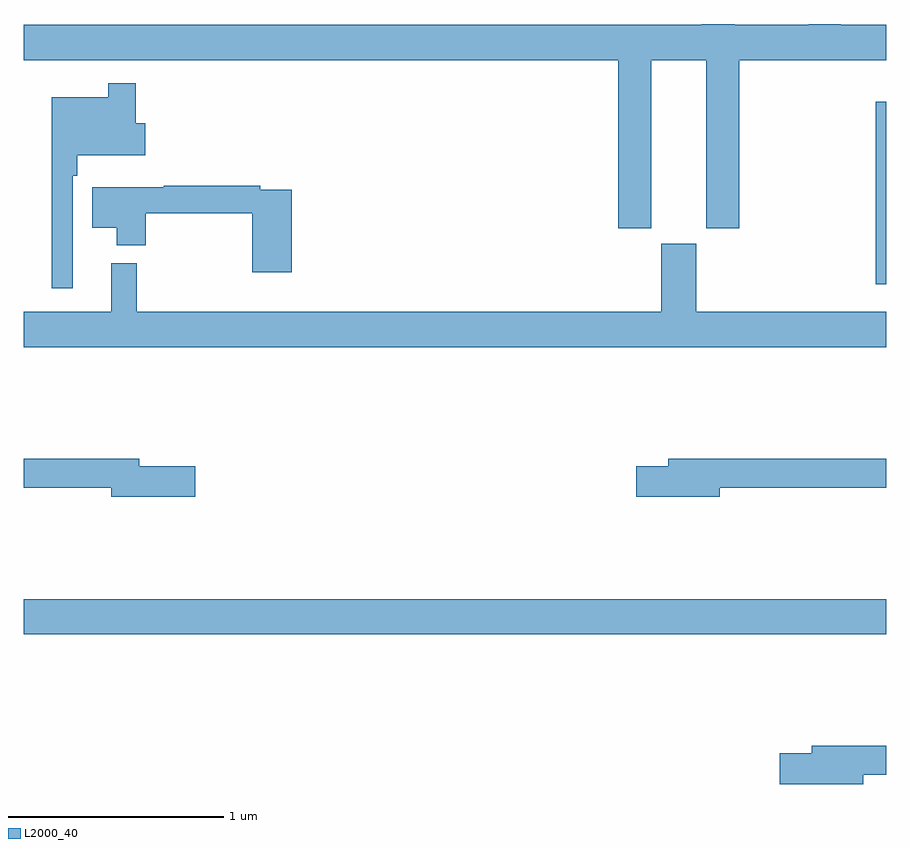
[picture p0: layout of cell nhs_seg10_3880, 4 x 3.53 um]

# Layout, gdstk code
import gdstk
lib = gdstk.Library(unit=1e-6, precision=1e-09)
def R(c, l, rs):  # rectangles x0, y0, x1, y1
    for r in rs: c.add(gdstk.rectangle(r[:2], r[2:], *l))
def P(c, l, *ps):  # polygons
    for p in ps: c.add(gdstk.Polygon(p, *l))
L2000_40 = (2000, 40)

nhs_seg10_3880 = lib.new_cell('nhs_seg10_3880')
R(nhs_seg10_3880, L2000_40, [(325,1281.668,329,1281.832), (328.951,1283.292,329,1284.139)])
P(nhs_seg10_3880, L2000_40, [(327.91,1284.332),(328.166,1284.332),(328.166,1283.553),(328.319,1283.553),(328.319,1284.332),(329,1284.332),(329,1284.496),(328.789,1284.496),(328.789,1284.5),(328.642,1284.5),(328.642,1284.496),(328.297,1284.496),(328.297,1284.5),(328.145,1284.5),(328.145,1284.496),(325,1284.496),(325,1284.332),(327.758,1284.332),(327.758,1283.553),(327.91,1283.553)],
  [(325.227,1283.795),(325.247,1283.795),(325.247,1283.891),(325.564,1283.891),(325.564,1284.039),(325.52,1284.039),(325.52,1284.226),(325.392,1284.226),(325.392,1284.16),(325.13,1284.16),(325.13,1283.274),(325.227,1283.274)],
  [(326.243,1283.73),(326.096,1283.73),(326.096,1283.75),(325.648,1283.75),(325.648,1283.743),(325.316,1283.743),(325.316,1283.555),(325.43,1283.555),(325.43,1283.474),(325.565,1283.474),(325.565,1283.622),(326.06,1283.622),(326.06,1283.349),(326.243,1283.349)],
  [(329,1283.164),(328.12,1283.164),(328.12,1283.481),(327.956,1283.481),(327.956,1283.164),(325.523,1283.164),(325.523,1283.389),(325.406,1283.389),(325.406,1283.164),(325,1283.164),(325,1283),(329,1283)],
  [(325.795,1282.448),(325.534,1282.448),(325.534,1282.484),(325,1282.484),(325,1282.348),(325.406,1282.348),(325.406,1282.306),(325.795,1282.306)],
  [(328.228,1282.348),(329,1282.348),(329,1282.484),(327.989,1282.484),(327.989,1282.448),(327.84,1282.448),(327.84,1282.306),(328.228,1282.306)],
  [(328.894,1281.016),(329,1281.016),(329,1281.152),(328.655,1281.152),(328.655,1281.116),(328.506,1281.116),(328.506,1280.974),(328.894,1280.974)])

lib.write_gds('nhs_seg10_3880.gds')
